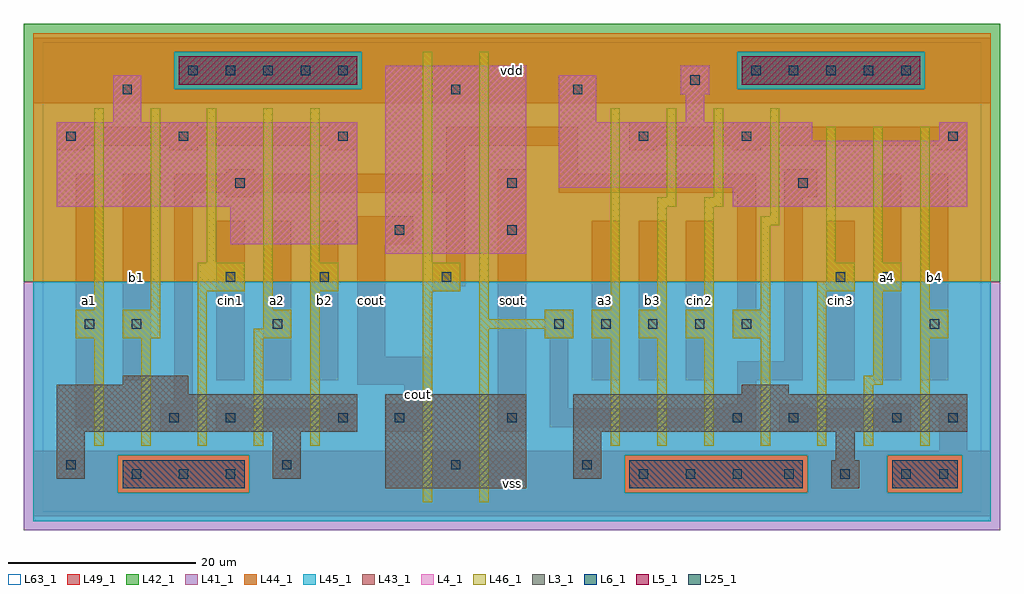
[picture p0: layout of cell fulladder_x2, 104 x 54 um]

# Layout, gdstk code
import gdstk
lib = gdstk.Library(unit=1e-6, precision=1e-09)
def R(c, l, rs):  # rectangles x0, y0, x1, y1
    for r in rs: c.add(gdstk.rectangle(r[:2], r[2:], *l))
def A(c, l, x, y, w, h, nx, ny, dx, dy):  # array of equal rectangles
    R(c, l, [(x+i*dx, y+j*dy, x+i*dx+w, y+j*dy+h) for i in range(nx) for j in range(ny)])
L3_1 = (3, 1)
L4_1 = (4, 1)
L5_1 = (5, 1)
L6_1 = (6, 1)
L25_1 = (25, 1)
L41_1 = (41, 1)
L42_1 = (42, 1)
L43_1 = (43, 1)
L44_1 = (44, 1)
L45_1 = (45, 1)
L46_1 = (46, 1)
L49_1 = (49, 1)
L63_1 = (63, 1)

fulladder_x2 = lib.new_cell('fulladder_x2')
R(fulladder_x2, L3_1, [(36.5,2.5,51.5,12.5), (84,2.5,87,5.5), (1.5,3.5,4.5,8.5), (24.5,3.5,27.5,8.5), (56.5,3.5,59.5,8.5), (84.5,5.5,86.5,8.5), (1.5,8.5,33.5,12.5), (56.5,8.5,98.5,12.5), (1.5,12.5,15.5,13.5), (74.5,12.5,79.5,13.5), (8.5,13.5,15.5,14.5)])
R(fulladder_x2, L4_1, [(36.5,27.5,51.5,47.5), (20,28.5,33.5,32.5), (1.5,32.5,33.5,41.5), (73.5,32.5,98.5,34.5), (55,34.5,98.5,39.5), (55,39.5,82,41.5), (95.5,39.5,98.5,41.5), (7.5,41.5,10.5,46.5), (55,41.5,59,46.5), (68.5,41.5,70.5,44.5), (68,44.5,71,47.5)])
R(fulladder_x2, L5_1, [(14.5,45.5,33.5,48.5), (74.5,45.5,93.5,48.5)])
R(fulladder_x2, L6_1, [(8.5,2.5,21.5,5.5), (62.5,2.5,81,5.5), (90.5,2.5,97.5,5.5)])
A(fulladder_x2, L25_1, 9.5, 3.5, 1, 1, 3, 1, 5, 0)
A(fulladder_x2, L25_1, 63.5, 3.5, 1, 1, 3, 1, 5, 0)
A(fulladder_x2, L25_1, 54.5, 19.5, 1, 1, 5, 1, 5, 0)
A(fulladder_x2, L25_1, 15.5, 46.5, 1, 1, 5, 1, 4, 0)
A(fulladder_x2, L25_1, 75.5, 46.5, 1, 1, 5, 1, 4, 0)
R(fulladder_x2, L25_1, [(79,3.5,80,4.5), (85,3.5,86,4.5), (91.5,3.5,92.5,4.5), (95.5,3.5,96.5,4.5), (2.5,4.5,3.5,5.5), (25.5,4.5,26.5,5.5), (43.5,4.5,44.5,5.5), (57.5,4.5,58.5,5.5), (13.5,9.5,14.5,10.5), (19.5,9.5,20.5,10.5), (31.5,9.5,32.5,10.5), (37.5,9.5,38.5,10.5), (49.5,9.5,50.5,10.5), (73.5,9.5,74.5,10.5), (79.5,9.5,80.5,10.5), (90.5,9.5,91.5,10.5), (96.5,9.5,97.5,10.5), (4.5,19.5,5.5,20.5), (9.5,19.5,10.5,20.5), (24.5,19.5,25.5,20.5), (94.5,19.5,95.5,20.5), (19.5,24.5,20.5,25.5), (29.5,24.5,30.5,25.5), (42.5,24.5,43.5,25.5), (84.5,24.5,85.5,25.5), (89.5,24.5,90.5,25.5), (37.5,29.5,38.5,30.5), (49.5,29.5,50.5,30.5), (20.5,34.5,21.5,35.5), (49.5,34.5,50.5,35.5), (80.5,34.5,81.5,35.5), (2.5,39.5,3.5,40.5), (14.5,39.5,15.5,40.5), (31.5,39.5,32.5,40.5), (63.5,39.5,64.5,40.5), (74.5,39.5,75.5,40.5), (96.5,39.5,97.5,40.5), (8.5,44.5,9.5,45.5), (43.5,44.5,44.5,45.5), (56.5,44.5,57.5,45.5), (69,45.5,70,46.5)])
R(fulladder_x2, L41_1, [(-2,-2,102,24.5)])
R(fulladder_x2, L42_1, [(-2,24.5,102,52)])
R(fulladder_x2, L43_1, [(8.5,2.5,21.5,5.5), (36.5,2.5,51.5,12.5), (62.5,2.5,81,5.5), (84,2.5,87,5.5), (90.5,2.5,97.5,5.5), (1.5,3.5,4.5,8.5), (24.5,3.5,27.5,8.5), (56.5,3.5,59.5,8.5), (84.5,5.5,86.5,8.5), (1.5,8.5,33.5,12.5), (56.5,8.5,98.5,12.5), (1.5,12.5,15.5,13.5), (74.5,12.5,79.5,13.5), (8.5,13.5,15.5,14.5), (36.5,27.5,51.5,47.5), (20,28.5,33.5,32.5), (1.5,32.5,33.5,41.5), (73.5,32.5,98.5,34.5), (55,34.5,98.5,39.5), (55,39.5,82,41.5), (95.5,39.5,98.5,41.5), (7.5,41.5,10.5,46.5), (55,41.5,59,46.5), (68.5,41.5,70.5,44.5), (68,44.5,71,47.5), (14.5,45.5,33.5,48.5), (74.5,45.5,93.5,48.5)])
R(fulladder_x2, L44_1, [(8,2,22,6), (62,2,81.5,6), (90,2,98,6), (-1,24.5,101,45), (-1,45,14,49), (34,45,74,49), (94,45,101,49), (-1,49,101,51)])
R(fulladder_x2, L45_1, [(-1,-1,101,2), (-1,2,8,6), (22,2,62,6), (81.5,2,90,6), (98,2,101,6), (-1,6,101,24.5), (14,45,34,49), (74,45,94,49)])
A(fulladder_x2, L46_1, 60.5, 7, 1, 11.5, 3, 1, 5, 0)
A(fulladder_x2, L46_1, 58.5, 18.5, 3, 3, 3, 1, 5, 0)
R(fulladder_x2, L46_1, [(40.5,1,41.5,23.5), (46.5,1,47.5,19.5), (5.5,7,6.5,18.5), (10.5,7,11.5,18.5), (16.5,7,17.5,23.5), (22.5,7,23.5,18.5), (28.5,7,29.5,23.5), (76.5,7,77.5,18.5), (82.5,7,83.5,23.5), (87.5,7,88.5,13.5), (93.5,7,94.5,18.5), (87.5,13.5,89.5,14.5), (88.5,14.5,89.5,23.5), (3.5,18.5,6.5,21.5), (8.5,18.5,12.5,21.5), (22.5,18.5,26.5,19.5), (53.5,18.5,56.5,19.5), (73.5,18.5,77.5,21.5), (93.5,18.5,96.5,21.5), (23.5,19.5,26.5,21.5), (46.5,19.5,56.5,20.5), (46.5,20.5,47.5,49), (53.5,20.5,56.5,21.5), (5.5,21.5,6.5,43), (11.5,21.5,12.5,43), (23.5,21.5,24.5,43), (60.5,21.5,61.5,43), (65.5,21.5,66.5,32.5), (70.5,21.5,71.5,32.5), (76.5,21.5,77.5,30.5), (93.5,21.5,94.5,41), (16.5,23.5,21.5,26.5), (28.5,23.5,31.5,26.5), (40.5,23.5,44.5,26.5), (82.5,23.5,86.5,24.5), (88.5,23.5,91.5,26.5), (83.5,24.5,86.5,26.5), (17.5,26.5,18.5,43), (28.5,26.5,29.5,43), (40.5,26.5,41.5,49), (83.5,26.5,84.5,41), (88.5,26.5,89.5,41), (76.5,30.5,78.5,31.5), (77.5,31.5,78.5,43), (65.5,32.5,67.5,33.5), (70.5,32.5,72.5,33.5), (66.5,33.5,67.5,43), (71.5,33.5,72.5,43)])
A(fulladder_x2, L49_1, 18.5, 14, 3, 17, 3, 1, 5, 0)
A(fulladder_x2, L49_1, 58.5, 14, 3, 17, 3, 1, 5, 0)
R(fulladder_x2, L49_1, [(-1,-0.5,101,6.5), (95.5,6.5,98.5,11.5), (12.5,8.5,15.5,9), (18.5,8.5,21.5,9), (30.5,8.5,33.5,9), (36.5,8.5,41,9), (48.5,8.5,51.5,36.5), (72.5,8.5,76,9), (78.5,8.5,81.5,9), (89.5,8.5,92.5,9), (3.5,9,6.5,36), (12.5,9,16,11.5), (18.5,9,33.5,11), (36.5,9,41.5,11.5), (54,9,76,11), (78.5,9,92.5,11), (18.5,11,21.5,11.5), (30.5,11,33.5,11.5), (54,11,56,18.5), (72.5,11,76,11.5), (78.5,11,81.5,11.5), (89.5,11,92.5,11.5), (14,11.5,16,34), (38.5,11.5,41.5,13.5), (74,11.5,76,14), (33.5,13.5,41.5,16.5), (8.5,14,11.5,36), (74,14,81,16), (83.5,14,86.5,31), (88.5,14,91.5,36), (93.5,14,96.5,36), (79,16,81,33.5), (33.5,16.5,36.5,28.5), (53.5,18.5,56.5,21.5), (73.5,18.5,76.5,21.5), (74,21.5,76,34), (41.5,23.5,44.5,24), (41.5,24,45,26.5), (43,26.5,45,34), (33.5,28.5,39.5,31.5), (19.5,33.5,22.5,34), (79,33.5,82.5,36.5), (14,34,45,36), (55,34,76,36), (19.5,36,22.5,36.5), (43,36,45,39), (55,36,57,39), (1.5,38.5,4.5,39), (13.5,38.5,16.5,39), (30.5,38.5,33.5,39), (62.5,38.5,65.5,39), (73.5,38.5,76.5,39), (95.5,38.5,98.5,39), (1.5,39,33.5,41), (43,39,57,41), (62.5,39,98.5,41), (1.5,41,4.5,41.5), (13.5,41,16.5,41.5), (30.5,41,33.5,41.5), (62.5,41,65.5,41.5), (73.5,41,76.5,41.5), (95.5,41,98.5,41.5), (-1,43.5,101,50.5)])
R(fulladder_x2, L63_1, [(0,0,100,50)])
fulladder_x2.add(gdstk.Label('a1', (5,22.5), layer=49, texttype=1))
fulladder_x2.add(gdstk.Label('b1', (10,25), layer=49, texttype=1))
fulladder_x2.add(gdstk.Label('b1', (10,25), layer=49, texttype=1))
fulladder_x2.add(gdstk.Label('a1', (5,22.5), layer=49, texttype=1))
fulladder_x2.add(gdstk.Label('cin1', (20,22.5), layer=49, texttype=1))
fulladder_x2.add(gdstk.Label('cin1', (20,22.5), layer=49, texttype=1))
fulladder_x2.add(gdstk.Label('cout', (35,22.5), layer=49, texttype=1))
fulladder_x2.add(gdstk.Label('b2', (30,22.5), layer=49, texttype=1))
fulladder_x2.add(gdstk.Label('a2', (25,22.5), layer=49, texttype=1))
fulladder_x2.add(gdstk.Label('cout', (35,22.5), layer=49, texttype=1))
fulladder_x2.add(gdstk.Label('a2', (25,22.5), layer=49, texttype=1))
fulladder_x2.add(gdstk.Label('b2', (30,22.5), layer=49, texttype=1))
fulladder_x2.add(gdstk.Label('vss', (50,3), layer=49, texttype=1))
fulladder_x2.add(gdstk.Label('vss', (50,3), layer=49, texttype=1))
fulladder_x2.add(gdstk.Label('cout', (40,12.5), layer=49, texttype=1))
fulladder_x2.add(gdstk.Label('cout', (40,12.5), layer=49, texttype=1))
fulladder_x2.add(gdstk.Label('sout', (50,22.5), layer=49, texttype=1))
fulladder_x2.add(gdstk.Label('sout', (50,22.5), layer=49, texttype=1))
fulladder_x2.add(gdstk.Label('vdd', (50,47), layer=49, texttype=1))
fulladder_x2.add(gdstk.Label('vdd', (50,47), layer=49, texttype=1))
fulladder_x2.add(gdstk.Label('a3', (60,22.5), layer=49, texttype=1))
fulladder_x2.add(gdstk.Label('a3', (60,22.5), layer=49, texttype=1))
fulladder_x2.add(gdstk.Label('cin2', (70,22.5), layer=49, texttype=1))
fulladder_x2.add(gdstk.Label('b3', (65,22.5), layer=49, texttype=1))
fulladder_x2.add(gdstk.Label('cin2', (70,22.5), layer=49, texttype=1))
fulladder_x2.add(gdstk.Label('b3', (65,22.5), layer=49, texttype=1))
fulladder_x2.add(gdstk.Label('a4', (90,25), layer=49, texttype=1))
fulladder_x2.add(gdstk.Label('b4', (95,25), layer=49, texttype=1))
fulladder_x2.add(gdstk.Label('cin3', (85,22.5), layer=49, texttype=1))
fulladder_x2.add(gdstk.Label('b4', (95,25), layer=49, texttype=1))
fulladder_x2.add(gdstk.Label('a4', (90,25), layer=49, texttype=1))
fulladder_x2.add(gdstk.Label('cin3', (85,22.5), layer=49, texttype=1))

lib.write_gds('fulladder_x2.gds')
